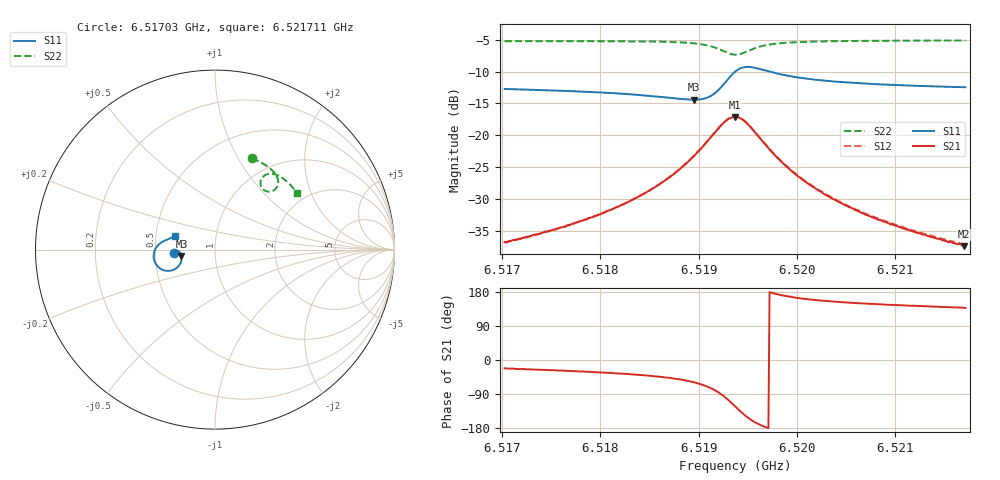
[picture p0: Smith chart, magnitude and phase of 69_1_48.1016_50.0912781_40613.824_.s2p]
#  HZ  S  RI  R  50.00
! Rohde & Schwarz Vector Network Analyzer
! Rohde-Schwarz,ZNB20-2Port,1311601062101988,3.16
! Created: UTC 12/23/2023, 3:41:33 AM
! freq[Hz]  re:S11  im:S11  re:S21  im:S21  re:S12  im:S12  re:S22  im:S22
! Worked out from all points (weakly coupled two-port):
!   401 points, 6.51703 GHz to 6.521711 GHz, reference 50 ohm
!   highest |S21| = -17.12 dB at 6.51937 GHz (marker M1); lowest = -37.4 dB at 6.521699 GHz (marker M2)
!   lowest |S11| = -14.4 dB at 6.518949 GHz (marker M3), VSWR 1.47, Z = 34.2 - j2.48 ohm
!   |S11| at or under -10 dB: start of sweep to 6.519372 GHz; 6.519722 GHz to end of sweep
!   |S22| runs from -7.3 to -5.1 dB; largest |S21 - S12| = 0.0042
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6.5170296e9  -0.2303 -0.0167  0.0135 -0.00537  0.0134 -0.005  0.2057 0.5083
6.5173807e9  -0.2263 -0.0115  0.0151 -0.00719  0.0153 -0.00683  0.2317 0.4973
6.5178137e9  -0.2202 -0.00659  0.0183 -0.0107  0.0187 -0.0102  0.2637 0.4813
6.5182584e9  -0.2111 -0.00476  0.0234 -0.0174  0.024 -0.0168  0.2973 0.4599
6.5185978e9  -0.2006 -0.00949  0.0294 -0.0284  0.0303 -0.0276  0.3236 0.4372
6.5187733e9  -0.1937 -0.0176  0.0331 -0.0392  0.0347 -0.0384  0.3373 0.4204
6.5189489e9  -0.1869 -0.0349  0.0354 -0.058  0.0374 -0.0573  0.3492 0.3962
6.5190542e9  -0.1862 -0.0537  0.0329 -0.0766  0.0355 -0.076  0.3521 0.3755
6.5191478e9  -0.1936 -0.0782  0.0224 -0.0987  0.0256 -0.0988  0.3467 0.3524
6.5192766e9  -0.237 -0.1148  -0.0219 -0.1275  -0.0183 -0.1293  0.3131 0.3239
6.5193702e9  -0.2954 -0.1109  -0.0739 -0.1182  -0.0711 -0.1212  0.2727 0.3315
6.519417e9  -0.3206 -0.0921  -0.0944 -0.099  -0.0922 -0.1024  0.2585 0.3478
6.5194755e9  -0.3384 -0.0604  -0.1066 -0.0693  -0.1054 -0.073  0.2529 0.3726
6.5195691e9  -0.3388 -0.0142  -0.102 -0.0296  -0.102 -0.0328  0.265 0.4033
6.5196745e9  -0.323 0.0176  -0.0848 -0.00502  -0.0854 -0.00743  0.288 0.4193
6.5198851e9  -0.2925 0.0436  -0.0563 0.0112  -0.0573 0.00968  0.3261 0.4217
6.5201543e9  -0.2694 0.0544  -0.037 0.0142  -0.0379 0.0132  0.3586 0.4097
6.5205054e9  -0.2526 0.0613  -0.0245 0.0131  -0.0253 0.0126  0.3879 0.39
6.5209384e9  -0.2401 0.0676  -0.0168 0.0113  -0.0174 0.0111  0.4162 0.3645
6.5213128e9  -0.232 0.0728  -0.0129 0.0101  -0.0133 0.01  0.4372 0.3417
6.521699e9  -0.2253 0.078  -0.00993 0.00903  -0.0105 0.00902  0.4563 0.3177
6.5217107e9  -0.2251 0.0783  -0.00996 0.00916  -0.0104 0.00889  0.4568 0.317
